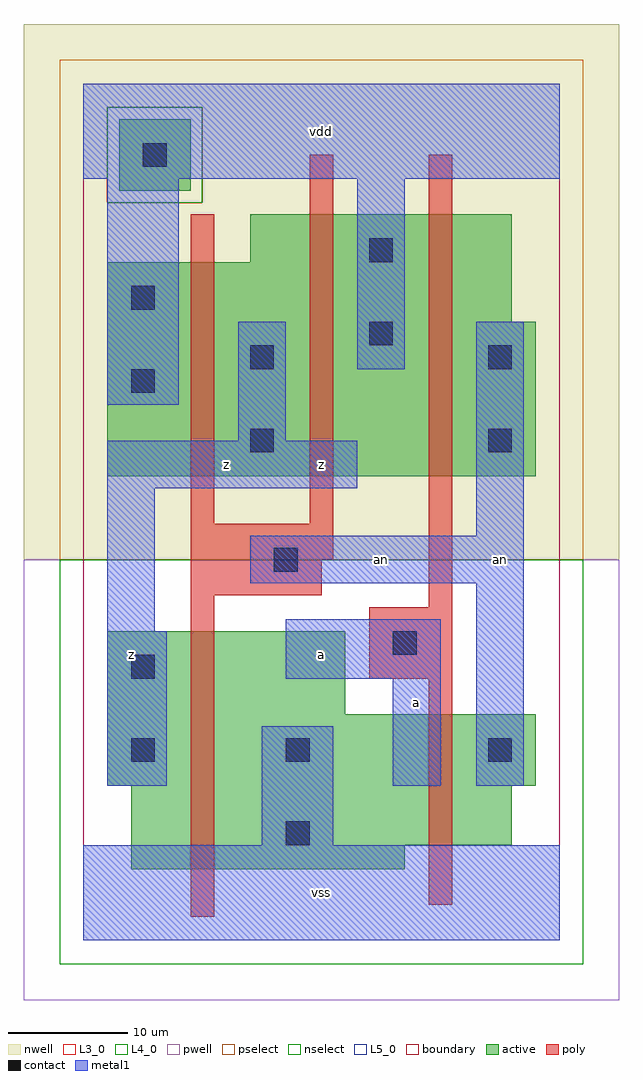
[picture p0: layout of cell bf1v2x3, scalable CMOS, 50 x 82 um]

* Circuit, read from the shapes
.subckt bf1v2x3 a an vdd vss z
M1 vss an z VSUBS nfet w=20u l=2u
M2 an a vss VSUBS nfet w=11u l=2u
M3 z an vdd vdd pfet w=18u l=2u
M4 vdd an z vdd pfet w=22u l=2u
M5 an a vdd vdd pfet w=22u l=2u
.ends

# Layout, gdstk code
import gdstk
lib = gdstk.Library(unit=1e-6, precision=1e-09)
def R(c, l, rs):  # rectangles x0, y0, x1, y1
    for r in rs: c.add(gdstk.rectangle(r[:2], r[2:], *l))
L3_0 = (3, 0)
L4_0 = (4, 0)
L5_0 = (5, 0)
contact = (25, 0)
pwell = (41, 0)
nwell = (42, 0)
active = (43, 0)
pselect = (44, 0)
nselect = (45, 0)
poly = (46, 0)
metal1 = (49, 0)
boundary = (63, 0)

bf1v2x3 = lib.new_cell('bf1v2x3')
R(bf1v2x3, L3_0, [(4,6,27,8), (4,8,36,13), (2,13,38,19), (2,19,22,26)])
R(bf1v2x3, L4_0, [(2,39,38,52), (2,52,36,57), (14,57,36,61)])
R(bf1v2x3, L5_0, [(3,63,9,69)])
R(bf1v2x3, contact, [(17,8,19,10), (4,15,6,17), (17,15,19,17), (34,15,36,17), (4,22,6,24), (26,24,28,26), (16,31,18,33), (14,41,16,43), (34,41,36,43), (4,46,6,48), (14,48,16,50), (34,48,36,50), (24,50,26,52), (4,53,6,55), (24,57,26,59), (5,65,7,67)])
R(bf1v2x3, pwell, [(-5,-5,45,32)])
R(bf1v2x3, nwell, [(-5,32,45,77)])
R(bf1v2x3, active, [(4,6,27,8), (4,8,36,13), (2,13,38,19), (2,19,22,26), (2,39,38,52), (2,52,36,57), (14,57,36,61), (3,63,9,69)])
R(bf1v2x3, pselect, [(-2,32,42,62), (-2,62,2,70), (10,62,42,70), (-2,70,42,74)])
R(bf1v2x3, nselect, [(-2,-2,42,32), (2,62,10,70)])
R(bf1v2x3, poly, [(9,2,11,29), (29,3,31,22), (24,22,31,28), (29,28,31,66), (9,29,20,32), (9,32,21,35), (9,35,11,61), (19,35,21,66)])
R(bf1v2x3, metal1, [(0,0,40,8), (15,8,21,18), (2,13,7,26), (26,13,30,22), (33,13,37,30), (17,22,30,27), (2,26,6,38), (14,30,37,34), (33,34,37,52), (2,38,23,42), (13,42,17,52), (2,45,8,64), (23,48,27,64), (0,64,40,72)])
R(bf1v2x3, boundary, [(0,0,40,72)])
bf1v2x3.add(gdstk.Label('an', (25,32), layer=49, texttype=0))
bf1v2x3.add(gdstk.Label('an', (35,32), layer=49, texttype=0))
bf1v2x3.add(gdstk.Label('z', (4,24), layer=49, texttype=0))
bf1v2x3.add(gdstk.Label('z', (12,40), layer=49, texttype=0))
bf1v2x3.add(gdstk.Label('vss', (20,4), layer=49, texttype=0))
bf1v2x3.add(gdstk.Label('a', (28,20), layer=49, texttype=0))
bf1v2x3.add(gdstk.Label('a', (20,24), layer=49, texttype=0))
bf1v2x3.add(gdstk.Label('z', (20,40), layer=49, texttype=0))
bf1v2x3.add(gdstk.Label('vdd', (20,68), layer=49, texttype=0))

lib.write_gds('bf1v2x3.gds')
